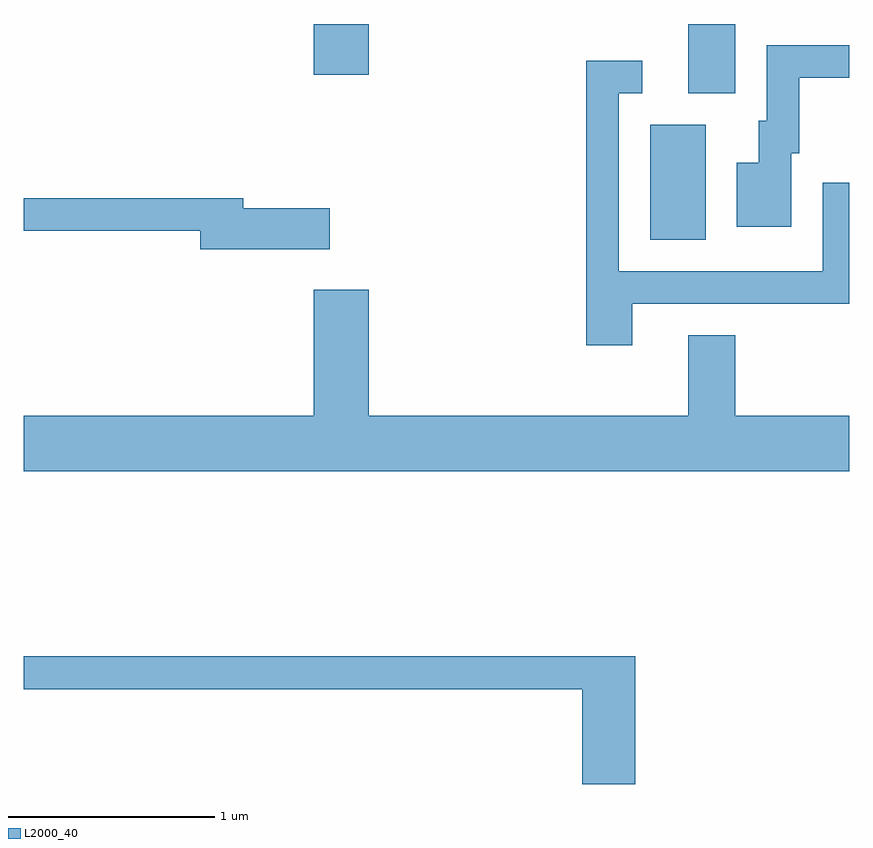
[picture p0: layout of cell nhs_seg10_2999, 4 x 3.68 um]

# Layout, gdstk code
import gdstk
lib = gdstk.Library(unit=1e-6, precision=1e-09)
def R(c, l, rs):  # rectangles x0, y0, x1, y1
    for r in rs: c.add(gdstk.rectangle(r[:2], r[2:], *l))
def P(c, l, *ps):  # polygons
    for p in ps: c.add(gdstk.Polygon(p, *l))
L2000_40 = (2000, 40)

nhs_seg10_2999 = lib.new_cell('nhs_seg10_2999')
R(nhs_seg10_2999, L2000_40, [(276.646,2119.476,276.914,2120.034), (276.831,2120.186,277.059,2120.522), (275.016,2120.276,275.284,2120.522)])
P(nhs_seg10_2999, L2000_40, [(277.329,2119.896),(277.369,2119.896),(277.369,2120.261),(277.611,2120.261),(277.611,2120.419),(277.211,2120.419),(277.211,2120.054),(277.171,2120.054),(277.171,2119.849),(277.066,2119.849),(277.066,2119.541),(277.329,2119.541)],
  [(276.559,2119.166),(277.611,2119.166),(277.611,2119.753),(277.481,2119.753),(277.481,2119.324),(276.494,2119.324),(276.494,2120.186),(276.608,2120.186),(276.608,2120.344),(276.336,2120.344),(276.336,2118.966),(276.559,2118.966)],
  [(275.094,2119.629),(274.674,2119.629),(274.674,2119.679),(273.611,2119.679),(273.611,2119.521),(274.466,2119.521),(274.466,2119.431),(275.094,2119.431)],
  [(277.611,2118.624),(277.059,2118.624),(277.059,2119.014),(276.831,2119.014),(276.831,2118.624),(275.284,2118.624),(275.284,2119.234),(275.016,2119.234),(275.016,2118.624),(273.611,2118.624),(273.611,2118.356),(277.611,2118.356)],
  [(276.574,2117.459),(273.611,2117.459),(273.611,2117.301),(276.316,2117.301),(276.316,2116.841),(276.574,2116.841)])

lib.write_gds('nhs_seg10_2999.gds')
